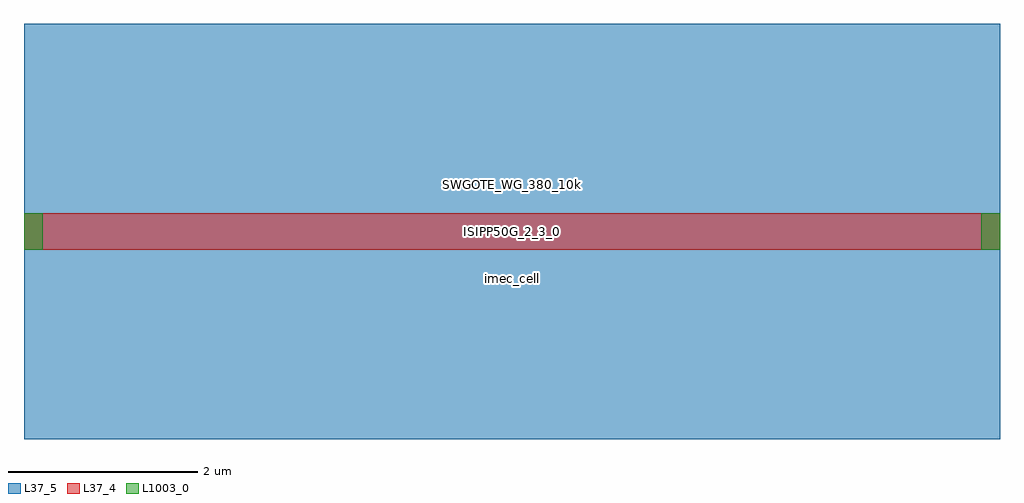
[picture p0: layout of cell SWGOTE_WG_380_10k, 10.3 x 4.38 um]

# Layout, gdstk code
import gdstk
lib = gdstk.Library(unit=1e-6, precision=1e-09)
def R(c, l, rs):  # rectangles x0, y0, x1, y1
    for r in rs: c.add(gdstk.rectangle(r[:2], r[2:], *l))
L37_4 = (37, 4)
L37_5 = (37, 5)
L1003_0 = (1003, 0)

swgote_wg_380_10k = lib.new_cell('SWGOTE_WG_380_10k')
R(swgote_wg_380_10k, L37_4, [(-0.15,-0.19,0,0.19), (0,-0.19,10,0.19), (10,-0.19,10.15,0.19)])
R(swgote_wg_380_10k, L37_5, [(-0.15,-2.19,0,2.19), (0,-2.19,10,2.19), (10,-2.19,10.15,2.19)])
R(swgote_wg_380_10k, L1003_0, [(-0.15,-0.19,0,0.19), (0,-0.19,0.05,0.19), (9.95,-0.19,10,0.19), (10,-0.19,10.15,0.19)])
swgote_wg_380_10k.add(gdstk.Label('SWGOTE_WG_380_10k', (5,0.5), layer=1002, texttype=0))
swgote_wg_380_10k.add(gdstk.Label('ISIPP50G_2_3_0', (5,0), layer=1002, texttype=0))
swgote_wg_380_10k.add(gdstk.Label('imec_cell', (5,-0.5), layer=1002, texttype=0))

lib.write_gds('SWGOTE_WG_380_10k.gds')
